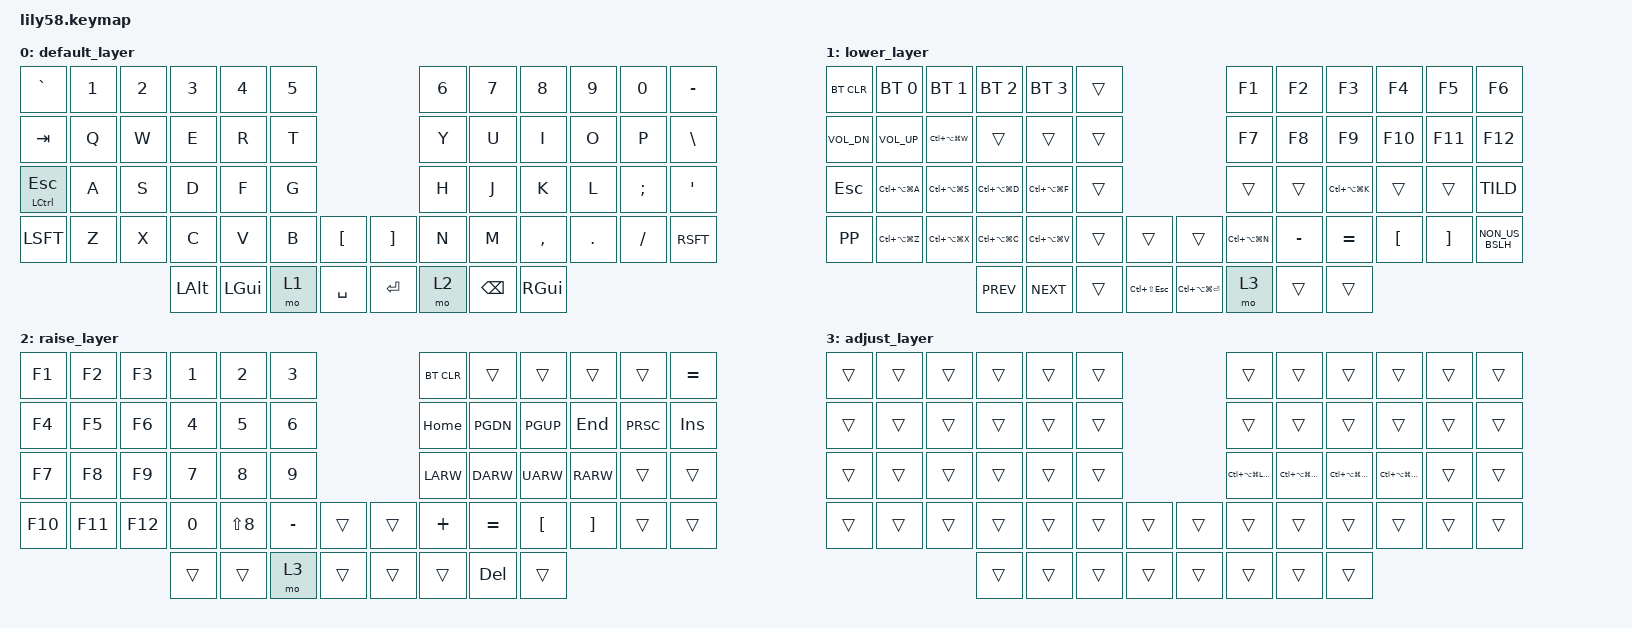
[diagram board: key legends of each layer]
#include <behaviors.dtsi>
#include <dt-bindings/zmk/keys.h>
#include <dt-bindings/zmk/bt.h>

/ {
    combos {
        compatible = "zmk,combos";
        combo_n1 {
            timeout-ms = <50>;
            key-positions = <13 25>;
            bindings = <&kp N1>;
        };
        combo_f1 {
            timeout-ms = <50>;
            key-positions = <13 25>;
            bindings = <&kp F1>;
            layers = <1>;
       };
    };
	
	keymap {
		compatible = "zmk,keymap";

		default_layer {
// -------------------------------------------------------------------------------------------------------------------
// |  `           |  1  |  2  |  3   |  4   |  5   |                   |  6   |  7    |  8    |  9   |   0   |   -   |
// |  TAB         |  Q  |  W  |  E   |  R   |  T   |                   |  Y   |  U    |  I    |  O   |   P   |   \   |
// |  MO(CTL,ESC) |  A  |  S  |  D   |  F   |  G   |                   |  H   |  J    |  K    |  L   |   ;   |   '   |
// | SHIFT        |  Z  |  X  |  C   |  V   |  B   |   "["  |  |  "]"  |  N   |  M    |  ,    |  .   |   /   | SHIFT |
//                            | ALT  | GUI  | LWR  | SPACE  |  | ENTER | RAISE| BSPC  | GUI   |
			bindings = <
&kp     GRAV     &kp N1    &kp N2    &kp N3    &kp N4    &kp N5                       &kp N6    &kp N7    &kp N8    &kp N9    &kp N0    &kp MINUS
&kp     TAB      &kp Q     &kp W     &kp E     &kp R     &kp T                        &kp Y     &kp U     &kp I     &kp O     &kp P     &kp BSLH
&mt LCTL ESC     &kp A     &kp S     &kp D     &kp F     &kp G                        &kp H     &kp J     &kp K     &kp L     &kp SCLN  &kp QUOT
&kp     LSFT     &kp Z     &kp X     &kp C     &kp V     &kp B   &kp LBKT  &kp RBKT   &kp N     &kp M     &kp CMMA  &kp DOT   &kp FSLH  &kp RSFT
                                     &kp LALT  &kp LGUI  &mo 1   &kp SPC   &kp RET    &mo 2     &kp BKSP  &kp RGUI
			>;
		};

		lower_layer {
// --------------------------------------------------------------------------------------------------------------------------------
// |  btclr | bt0    | bt1    | bt2    | bt3    |      |                        |  F1    |  F2   |  F3     |  F4  |  F5   |  F6   |
// |  V-    | V+     | CAG(W) |        |        |      |                        |  F7    |  F8   |  F9     |  F10 |  F11  |  F12  |
// |  ESC   | CAG(A) | CAG(S) | CAG(D) | CAG(F) |      |                        |        |       |  CAG(K) |      |       |   ~   |
// |  P/P   | CAG(Z) | CAG(X) | CAG(C) | CAG(V) |      |          |  |          | CAG(N) |  _    |  +      |  {   |   }   |   \   |
//                            | PREV   | NEXT   |      | CS(ESC)  |  | CAG(RET) |  ADJ   |       |
			bindings = <
&bt BT_CLR   &bt BT_SEL 0      &bt BT_SEL 1      &bt BT_SEL 2      &bt BT_SEL 3      &trans                                         &kp F1            &kp F2      &kp F3            &kp F4    &kp F5     &kp F6
&kp K_VOL_DN &kp K_VOL_UP      &kp LC(LA(LG(W))) &trans            &trans            &trans                                         &kp F7            &kp F8      &kp F9            &kp F10   &kp F11    &kp F12
&kp ESC      &kp LC(LA(LG(A))) &kp LC(LA(LG(S))) &kp LC(LA(LG(D))) &kp LC(LA(LG(F))) &trans                                         &trans            &trans      &kp LC(LA(LG(K))) &trans    &trans     &kp TILD
&kp K_PP     &kp LC(LA(LG(Z))) &kp LC(LA(LG(X))) &kp LC(LA(LG(C))) &kp LC(LA(LG(V))) &trans   &trans            &trans              &kp LC(LA(LG(N))) &kp MINUS   &kp EQL           &kp LBKT  &kp RBKT   &kp NON_US_BSLH
                                                 &kp K_PREV        &kp K_NEXT        &trans   &kp LC(LS(ESC))   &kp LC(LA(LG(RET))) &mo 3             &trans      &trans
			>;
		};

		raise_layer {
// ---------------------------------------------------------------------------------------------------------------
// | F1  |  F2  |  F3  |  1   |  2  |  3  |                   |  btclr   |       |       |      |       |   =  |
// | F4  |  F5  |  F6  |  4   |  5  |  6  |                   |  HOME    | PGDN  | PGUP  | END  | PRSC  | INS  |
// | F7  |  F8  |  F9  |  7   |  8  |  9  |                   |  <-      |   v   |  ^    |  ->  |       |      |
// | F10 |  F11 |  F12 |  0   |  *  |  -  |                   |  +       |   =   |   [   |  ]   |       |      |
//                     |      |     | ADJ |        |  |       |          | DEL   |       |
			bindings = <
&kp F1   &kp F2     &kp F3    &kp N1   &kp N2     &kp N3                       &bt BT_CLR &trans    &trans    &trans    &trans    &kp EQL
&kp F4   &kp F5     &kp F6    &kp N4   &kp N5     &kp N6                       &kp HOME   &kp PGDN  &kp PGUP  &kp END   &kp PRSC  &kp INS
&kp F7   &kp F8     &kp F9    &kp N7   &kp N8     &kp N9                       &kp LARW   &kp DARW  &kp UARW  &kp RARW  &trans    &trans
&kp F10  &kp F11    &kp F12   &kp N0   &kp LS(N8) &kp MINUS   &trans   &trans  &kp PLUS   &kp EQL   &kp LBKT  &kp RBKT  &trans    &trans
                    &trans    &trans   &mo 3      &trans                       &trans     &trans    &kp DEL   &trans
			>;
		};
       	adjust_layer {
// ---------------------------------------------------------------------------------------------------------------
// |       |     |     |      |      |      |                   |         |        |        |         |       |      |
// |       |     |     |      |      |      |                   |         |        |        |         |       |      |
// |       |     |     |      |      |      |                   | CAG(<-) | CAG(v) | CAG(^) | CAG(->) |       |      |
// |       |     |     |      |      |      |        |  |       |         |        |        |         |       |      |
//                     |      |      |      |        |  |       |         |        |        |
			bindings = <
&trans   &trans    &trans    &trans    &trans    &trans                       &trans               &trans               &trans               &trans               &trans    &trans
&trans   &trans    &trans    &trans    &trans    &trans                       &trans               &trans               &trans               &trans               &trans    &trans
&trans   &trans    &trans    &trans    &trans    &trans                       &kp LC(LA(LG(LARW))) &kp LC(LA(LG(DARW))) &kp LC(LA(LG(UARW))) &kp LC(LA(LG(RARW))) &trans    &trans
&trans   &trans    &trans    &trans    &trans    &trans    &trans   &trans    &trans               &trans               &trans               &trans               &trans    &trans
                   &trans    &trans    &trans    &trans                       &trans               &trans               &trans               &trans
			>;
		};
	};
};
